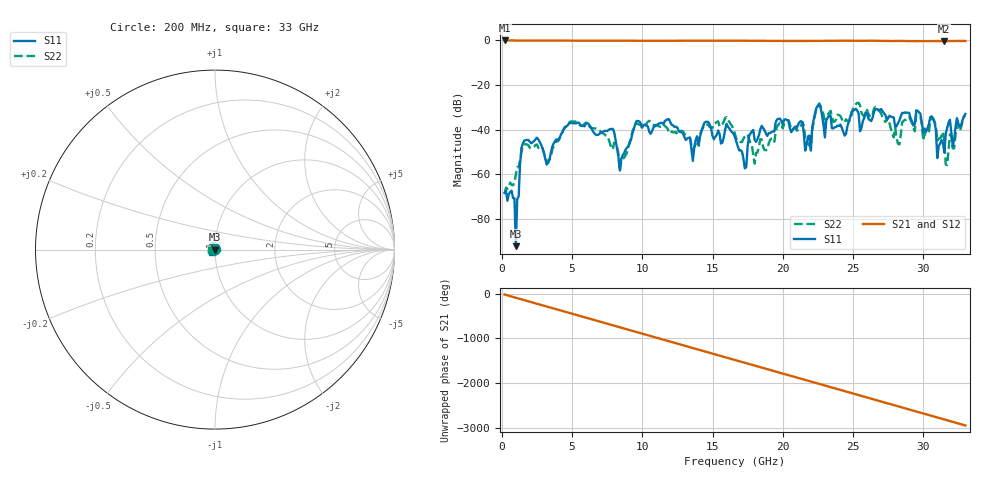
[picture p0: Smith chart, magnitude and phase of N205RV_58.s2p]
# GHZ S RI R 50
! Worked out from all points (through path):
!   329 points, 200 MHz to 33 GHz, reference 50 ohm
!   highest |S21| = -0.02 dB at 200 MHz (marker M1); lowest = -0.4 dB at 31.5 GHz (marker M2)
!   group delay of S21, straight-line fit = 248 ps
!   lowest |S11| = -92.2 dB at 1 GHz (marker M3), VSWR 1.00, Z = 50 - j0.00235 ohm
!   |S11| at or under -10 dB: start of sweep to end of sweep
!   |S22| runs from -68.6 to -28.0 dB; largest |S21 - S12| = 0.0019
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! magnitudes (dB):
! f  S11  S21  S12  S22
! 200 MHz  -68.4  0.0  0.0  -68.6
! 1 GHz  -92.2  -0.1  -0.1  -60.1
! 1.6 GHz  -45.0  -0.1  -0.1  -46.6
! 3.2 GHz  -55.7  -0.1  -0.1  -53.8
! 5.7 GHz  -38.3  -0.1  -0.1  -38.1
! 7.9 GHz  -39.6  -0.1  -0.1  -48.8
! 8.4 GHz  -58.3  -0.1  -0.1  -58.7
! 9.6 GHz  -36.1  -0.2  -0.2  -37.3
! 11.2 GHz  -37.3  -0.2  -0.2  -38.5
! 13.6 GHz  -54.0  -0.2  -0.2  -49.0
! 14.5 GHz  -36.5  -0.1  -0.1  -38.1
! 16.6 GHz  -43.4  -0.1  -0.1  -42.1
! 17.3 GHz  -57.4  -0.2  -0.2  -43.2
! 17.9 GHz  -40.1  -0.2  -0.2  -51.4
! 22.1 GHz  -38.7  -0.2  -0.2  -40.0
! 22.6 GHz  -28.7  -0.2  -0.2  -28.2
! 23 GHz  -43.5  -0.2  -0.2  -38.1
! 27.6 GHz  -33.7  -0.2  -0.2  -37.2
! 30.6 GHz  -34.0  -0.3  -0.3  -35.4
! 31.5 GHz  -50.3  -0.4  -0.4  -45.3
! 31.7 GHz  -39.3  -0.3  -0.3  -55.9
! 33 GHz  -33.0  -0.3  -0.3  -33.6
